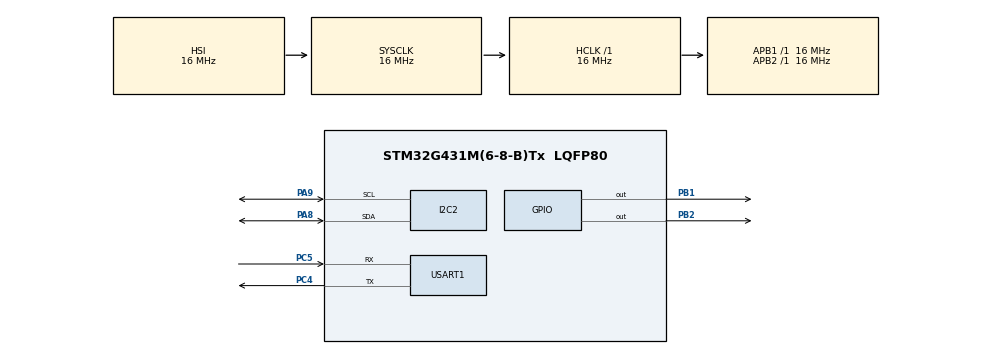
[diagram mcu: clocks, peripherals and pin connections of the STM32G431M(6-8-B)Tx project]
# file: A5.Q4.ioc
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I2C2.Timing=0x00503D58
Mcu.Family=STM32G4
Mcu.Name=STM32G431M(6-8-B)Tx
Mcu.Package=LQFP80
NVIC.PriorityGroup=NVIC_PRIORITYGROUP_4
PA13.Mode=Serial_Wire
PA13.Signal=SYS_JTMS-SWDIO
PA14.Mode=Serial_Wire
PA14.Signal=SYS_JTCK-SWCLK
PA8.Mode=I2C
PA8.Signal=I2C2_SDA
PA9.Mode=I2C
PA9.Signal=I2C2_SCL
PB1.Signal=GPIO_Output
PB2.PinState=GPIO_PIN_SET
PB2.Signal=GPIO_Output
PC4.Mode=Asynchronous
PC4.Signal=USART1_TX
PC5.Mode=Asynchronous
PC5.Signal=USART1_RX
ProjectManager.HeapSize=0x200
ProjectManager.StackSize=0x400
ProjectManager.TargetToolchain=STM32CubeIDE
RCC.AHBFreq_Value=16000000
RCC.APB1Freq_Value=16000000
RCC.APB1TimFreq_Value=16000000
RCC.APB2Freq_Value=16000000
RCC.APB2TimFreq_Value=16000000
RCC.CortexFreq_Value=16000000
RCC.EXTERNAL_CLOCK_VALUE=12288000
RCC.HCLKFreq_Value=16000000
RCC.HSE_VALUE=8000000
RCC.HSI48_VALUE=48000000
RCC.HSI_VALUE=16000000
RCC.LSE_VALUE=32768
RCC.SYSCLKFreq_VALUE=16000000
RCC.USBFreq_Value=64000000
RCC.VCOOutputFreq_Value=128000000
USART1.VirtualMode-Asynchronous=VM_ASYNC
VP_SYS_VS_DBSignals.Mode=DisableDeadBatterySignals
board=custom

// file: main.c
/* USER CODE BEGIN Header */
/**
  ******************************************************************************
  * @file           : main.c
  * @brief          : Main program body
  ******************************************************************************
  * @attention
  *
  * Copyright (c) 2024 STMicroelectronics.
  * All rights reserved.
  *
  * This software is licensed under terms that can be found in the LICENSE file
  * in the root directory of this software component.
  * If no LICENSE file comes with this software, it is provided AS-IS.
  *
  ******************************************************************************
  */
/* USER CODE END Header */
#include "main.h"

I2C_HandleTypeDef hi2c2;

UART_HandleTypeDef huart1;

void SystemClock_Config(void);
static void MX_GPIO_Init(void);
static void MX_I2C2_Init(void);
static void MX_USART1_UART_Init(void);

int main(void)
{

  /* MCU Configuration--------------------------------------------------------*/

  /* Reset of all peripherals, Initializes the Flash interface and the Systick. */
  HAL_Init();

  /* Configure the system clock */
  SystemClock_Config();

  /* Initialize all configured peripherals */
  MX_GPIO_Init();
  MX_I2C2_Init();
  MX_USART1_UART_Init();
  /* USER CODE BEGIN 2 */
#define SHT3_ADDRESS_WRITE (0x70 << 1)                   // Write address for SHT3 sensor
#define SHT3_ADDRESS_READ  ((0x70 << 1) | 0x01)          // Read address for SHT3 sensor

  uint8_t regHum[2];                                     // Command for humidity
  uint8_t rawData[6];                                    // Buffer for raw data (temperature + humidity)
  uint16_t rawHum16;                                     // Raw humidity data
  float humidity;                                        // Converted humidity value
  char printBuff[64] = {0};
  regHum[0] = 0x7C;                                      // Command MSB
  regHum[1] = 0xA2;                                      // Command LSB

  if (HAL_I2C_IsDeviceReady(&hi2c2, SHT3_ADDRESS_WRITE, 2, 100) == HAL_OK) {
          HAL_UART_Transmit(&huart1, (uint8_t*)"\n\rDevice is ready", sizeof("\n\rDevice is ready"), 1000);
  } else {
          HAL_UART_Transmit(&huart1, (uint8_t*)"\n\rDevice NOT ready", sizeof("\n\rDevice NOT ready"), 1000);
          return;
  }

  /* USER CODE END 2 */

  /* Infinite loop */
  /* USER CODE BEGIN WHILE */
  while (1)
  {
	  HAL_I2C_Master_Transmit(&hi2c2, SHT3_ADDRESS_WRITE, regHum, 2, 100);
	  HAL_Delay(30);
	  HAL_I2C_Master_Receive(&hi2c2, SHT3_ADDRESS_READ, rawData, 6, 100);
	  rawHum16 = ((rawData[3] << 8) | rawData[4]);                        // Combine 2 bytes of humidity data
	  humidity = ((float)100 * (float)rawHum16 / (float)65535);
	  sprintf(printBuff, "\n\rHumidity: %.1f%%", humidity);
	  HAL_UART_Transmit(&huart1, (uint8_t*)printBuff, sizeof(printBuff), 100);
	  HAL_Delay(2000);

	  if(humidity > 70.0){
	      HAL_GPIO_WritePin(GPIOB, GPIO_PIN_2, 0);
	      HAL_GPIO_WritePin(GPIOB, GPIO_PIN_1, 1);
	 }else{
	      HAL_GPIO_WritePin(GPIOB, GPIO_PIN_2, 1);
	      HAL_GPIO_WritePin(GPIOB, GPIO_PIN_1, 0);
	 }
    /* USER CODE END WHILE */

  }
}

void SystemClock_Config(void)
{
  RCC_OscInitTypeDef RCC_OscInitStruct = {0};
  RCC_ClkInitTypeDef RCC_ClkInitStruct = {0};

  /** Configure the main internal regulator output voltage
  */
  HAL_PWREx_ControlVoltageScaling(PWR_REGULATOR_VOLTAGE_SCALE1);

  /** Initializes the RCC Oscillators according to the specified parameters
  * in the RCC_OscInitTypeDef structure.
  */
  RCC_OscInitStruct.OscillatorType = RCC_OSCILLATORTYPE_HSI;
  RCC_OscInitStruct.HSIState = RCC_HSI_ON;
  RCC_OscInitStruct.HSICalibrationValue = RCC_HSICALIBRATION_DEFAULT;
  RCC_OscInitStruct.PLL.PLLState = RCC_PLL_NONE;
  if (HAL_RCC_OscConfig(&RCC_OscInitStruct) != HAL_OK)
  {
    Error_Handler();
  }

  /** Initializes the CPU, AHB and APB buses clocks
  */
  RCC_ClkInitStruct.ClockType = RCC_CLOCKTYPE_HCLK|RCC_CLOCKTYPE_SYSCLK
                              |RCC_CLOCKTYPE_PCLK1|RCC_CLOCKTYPE_PCLK2;
  RCC_ClkInitStruct.SYSCLKSource = RCC_SYSCLKSOURCE_HSI;
  RCC_ClkInitStruct.AHBCLKDivider = RCC_SYSCLK_DIV1;
  RCC_ClkInitStruct.APB1CLKDivider = RCC_HCLK_DIV1;
  RCC_ClkInitStruct.APB2CLKDivider = RCC_HCLK_DIV1;

  if (HAL_RCC_ClockConfig(&RCC_ClkInitStruct, FLASH_LATENCY_0) != HAL_OK)
  {
    Error_Handler();
  }
}

static void MX_I2C2_Init(void)
{

  hi2c2.Instance = I2C2;
  hi2c2.Init.Timing = 0x00503D58;
  hi2c2.Init.OwnAddress1 = 0;
  hi2c2.Init.AddressingMode = I2C_ADDRESSINGMODE_7BIT;
  hi2c2.Init.DualAddressMode = I2C_DUALADDRESS_DISABLE;
  hi2c2.Init.OwnAddress2 = 0;
  hi2c2.Init.OwnAddress2Masks = I2C_OA2_NOMASK;
  hi2c2.Init.GeneralCallMode = I2C_GENERALCALL_DISABLE;
  hi2c2.Init.NoStretchMode = I2C_NOSTRETCH_DISABLE;
  if (HAL_I2C_Init(&hi2c2) != HAL_OK)
  {
    Error_Handler();
  }

  /** Configure Analogue filter
  */
  if (HAL_I2CEx_ConfigAnalogFilter(&hi2c2, I2C_ANALOGFILTER_ENABLE) != HAL_OK)
  {
    Error_Handler();
  }

  /** Configure Digital filter
  */
  if (HAL_I2CEx_ConfigDigitalFilter(&hi2c2, 0) != HAL_OK)
  {
    Error_Handler();
  }

}

static void MX_USART1_UART_Init(void)
{

  huart1.Instance = USART1;
  huart1.Init.BaudRate = 115200;
  huart1.Init.WordLength = UART_WORDLENGTH_8B;
  huart1.Init.StopBits = UART_STOPBITS_1;
  huart1.Init.Parity = UART_PARITY_NONE;
  huart1.Init.Mode = UART_MODE_TX_RX;
  huart1.Init.HwFlowCtl = UART_HWCONTROL_NONE;
  huart1.Init.OverSampling = UART_OVERSAMPLING_16;
  huart1.Init.OneBitSampling = UART_ONE_BIT_SAMPLE_DISABLE;
  huart1.Init.ClockPrescaler = UART_PRESCALER_DIV1;
  huart1.AdvancedInit.AdvFeatureInit = UART_ADVFEATURE_NO_INIT;
  if (HAL_UART_Init(&huart1) != HAL_OK)
  {
    Error_Handler();
  }
  if (HAL_UARTEx_SetTxFifoThreshold(&huart1, UART_TXFIFO_THRESHOLD_1_8) != HAL_OK)
  {
    Error_Handler();
  }
  if (HAL_UARTEx_SetRxFifoThreshold(&huart1, UART_RXFIFO_THRESHOLD_1_8) != HAL_OK)
  {
    Error_Handler();
  }
  if (HAL_UARTEx_DisableFifoMode(&huart1) != HAL_OK)
  {
    Error_Handler();
  }

}

static void MX_GPIO_Init(void)
{
  GPIO_InitTypeDef GPIO_InitStruct = {0};

  /* GPIO Ports Clock Enable */
  __HAL_RCC_GPIOC_CLK_ENABLE();
  __HAL_RCC_GPIOB_CLK_ENABLE();
  __HAL_RCC_GPIOA_CLK_ENABLE();

  /*Configure GPIO pin Output Level */
  HAL_GPIO_WritePin(GPIOB, GPIO_PIN_1, GPIO_PIN_RESET);

  /*Configure GPIO pin Output Level */
  HAL_GPIO_WritePin(GPIOB, GPIO_PIN_2, GPIO_PIN_SET);

  /*Configure GPIO pins : PB1 PB2 */
  GPIO_InitStruct.Pin = GPIO_PIN_1|GPIO_PIN_2;
  GPIO_InitStruct.Mode = GPIO_MODE_OUTPUT_PP;
  GPIO_InitStruct.Pull = GPIO_NOPULL;
  GPIO_InitStruct.Speed = GPIO_SPEED_FREQ_LOW;
  HAL_GPIO_Init(GPIOB, &GPIO_InitStruct);

}

void Error_Handler(void)
{
  __disable_irq();
  while (1)
  {
  }
}
